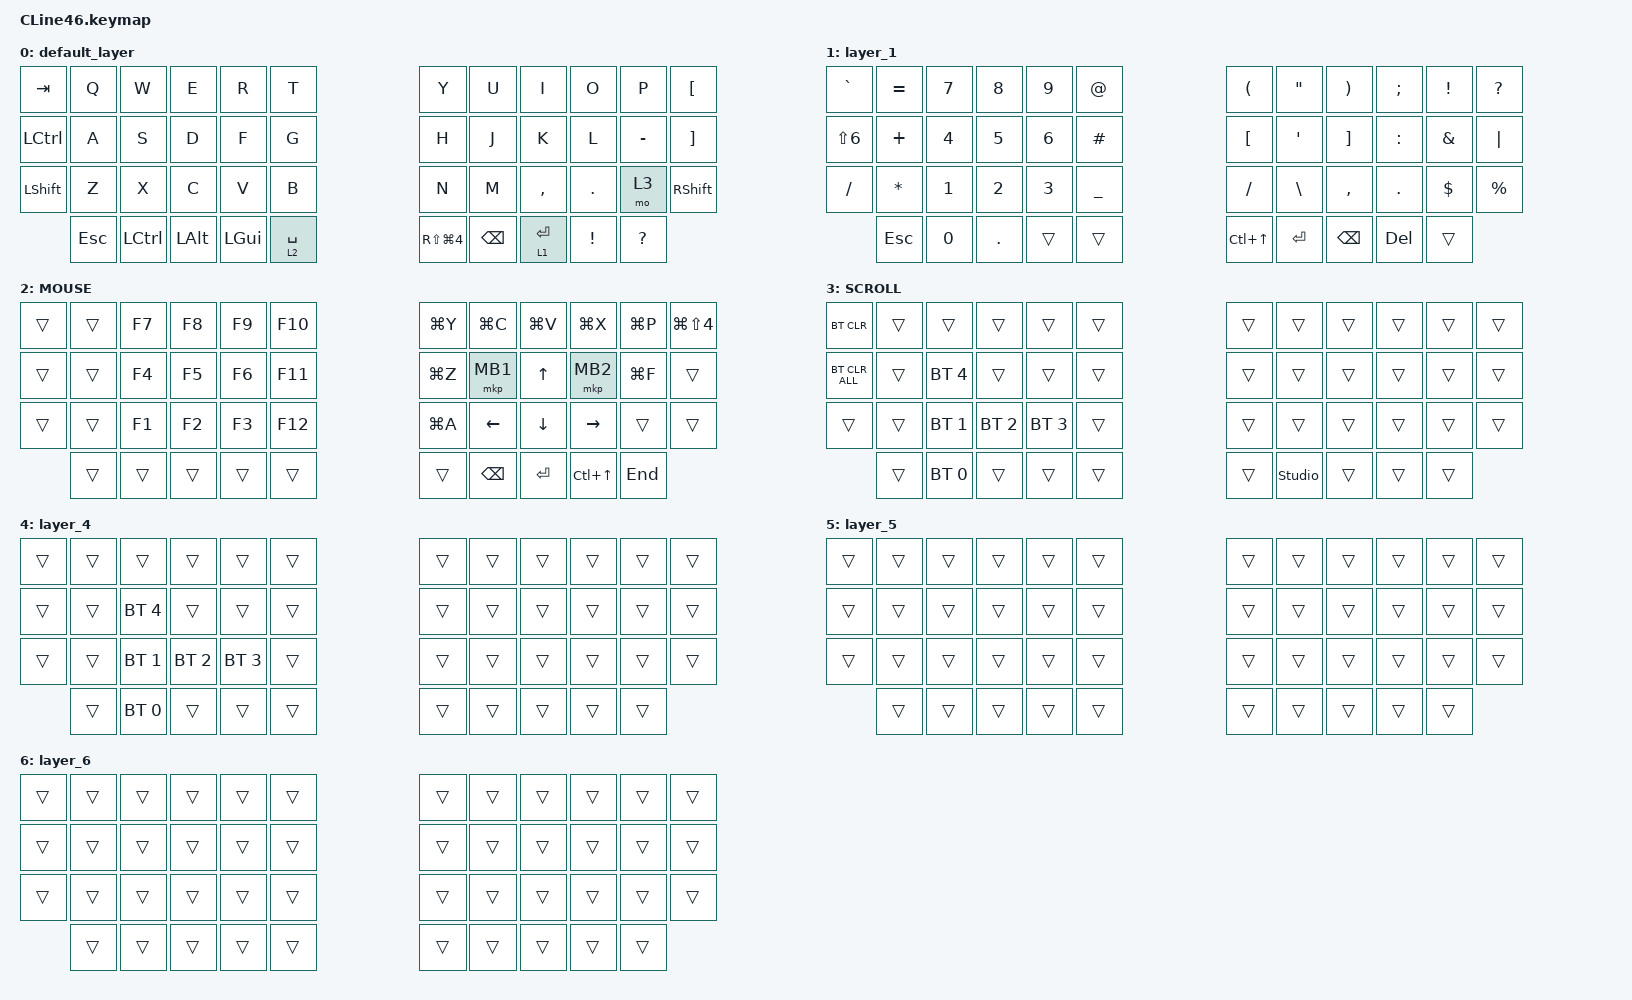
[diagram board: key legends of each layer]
#include <input/processors.dtsi>
#include <dt-bindings/zmk/input_transform.h>
#include <zephyr/dt-bindings/input/input-event-codes.h>
#include <behaviors.dtsi>
#include <dt-bindings/zmk/bt.h>
#include <dt-bindings/zmk/keys.h>
#include <dt-bindings/zmk/pointing.h>

&mt {
    flavor = "balanced";
    quick-tap-ms = <0>;
};

/ {
    combos {
        compatible = "zmk,combos";

        tab {
            bindings = <&kp TAB>;
            key-positions = <11 12>;
        };

        shift_tab {
            bindings = <&kp LS(TAB)>;
            key-positions = <12 13>;
        };

        left_click {
            bindings = <&mkp MB1>;
            key-positions = <19 20>;
        };

        right_click {
            bindings = <&mkp MB2>;
            key-positions = <20 21>;
        };

        lang2 {
            bindings = <&kp LANGUAGE_2>;
            key-positions = <14 15>;
        };

        lang1 {
            bindings = <&kp LANGUAGE_1>;
            key-positions = <16 15>;
        };
    };

    macros {
        to_layer_0: to_layer_0 {
            compatible = "zmk,behavior-macro-one-param";
            #binding-cells = <1>;
            bindings = <&to 0 &macro_param_1to1 &kp MACRO_PLACEHOLDER>;
            label = "TO_LAYER_0";
        };
    };

    behaviors {
        lt_to_layer_0: lt_to_layer_0 {
            compatible = "zmk,behavior-hold-tap";
            label = "LAYER_TAP_TO_0";
            bindings = <&mo>, <&to_layer_0>;

            #binding-cells = <2>;
            tapping-term-ms = <200>;
        };
    };

    keymap {
        compatible = "zmk,keymap";

        default_layer {
            bindings = <
&kp TAB     &kp Q    &kp W             &kp E         &kp R         &kp T                                               &kp Y        &kp U  &kp I      &kp O     &kp P         &kp LEFT_BRACKET
&kp LCTRL   &kp A    &kp S             &kp D         &kp F         &kp G                                               &kp H        &kp J  &kp K      &kp L     &kp MINUS     &kp RIGHT_BRACKET
&kp LSHIFT  &kp Z    &kp X             &kp C         &kp V         &kp B                                               &kp N        &kp M  &kp COMMA  &kp DOT   &mo 3         &kp RSHIFT
            &kp ESC  &kp LEFT_CONTROL  &kp LEFT_ALT  &kp LEFT_GUI  &lt 2 SPACE  &kp RS(LG(NUMBER_4))    &kp BACKSPACE  &lt 1 ENTER                    &kp EXCL  &kp QUESTION
            >;
        };

        layer_1 {
            bindings = <
&kp GRAVE         &kp EQUAL     &kp NUMBER_7  &kp NUMBER_8  &kp NUMBER_9  &kp AT_SIGN                                  &kp LEFT_PARENTHESIS  &kp DOUBLE_QUOTES  &kp RIGHT_PARENTHESIS  &kp SEMI   &kp EXCLAMATION  &kp QMARK
&kp LS(NUMBER_6)  &kp PLUS      &kp NUMBER_4  &kp NUMBER_5  &kp NUMBER_6  &kp HASH                                     &kp LEFT_BRACKET      &kp SINGLE_QUOTE   &kp RIGHT_BRACKET      &kp COLON  &kp AMPERSAND    &kp PIPE
&kp SLASH         &kp ASTERISK  &kp NUMBER_1  &kp NUMBER_2  &kp NUMBER_3  &kp UNDERSCORE                               &kp SLASH             &kp BACKSLASH      &kp COMMA              &kp DOT    &kp DOLLAR       &kp PERCENT
                  &kp ESC       &kp NUMBER_0  &kp DOT       &trans        &trans          &kp LC(UP_ARROW)    &kp RET  &kp BSPC                                                        &kp DEL    &trans
            >;
        };

        MOUSE {
            bindings = <
&trans  &trans  &kp F7  &kp F8  &kp F9  &kp F10                           &kp LG(Y)  &kp LG(C)       &kp LG(V)       &kp LG(X)         &kp LG(P)  &kp LG(LS(NUMBER_4))
&trans  &trans  &kp F4  &kp F5  &kp F6  &kp F11                           &kp LG(Z)  &mkp MB1        &kp UP_ARROW    &mkp MB2          &kp LG(F)  &trans
&trans  &trans  &kp F1  &kp F2  &kp F3  &kp F12                           &kp LG(A)  &kp LEFT_ARROW  &kp DOWN_ARROW  &kp RIGHT_ARROW   &trans     &trans
        &trans  &trans  &trans  &trans  &trans   &trans    &kp BACKSPACE  &kp ENTER                                  &kp LC(UP_ARROW)  &kp END
            >;
        };

        SCROLL {
            bindings = <
&bt BT_CLR      &trans  &trans        &trans        &trans        &trans                            &trans  &trans  &trans  &trans  &trans  &trans
&bt BT_CLR_ALL  &trans  &bt BT_SEL 4  &trans        &trans        &trans                            &trans  &trans  &trans  &trans  &trans  &trans
&trans          &trans  &bt BT_SEL 1  &bt BT_SEL 2  &bt BT_SEL 3  &trans                            &trans  &trans  &trans  &trans  &trans  &trans
                &trans  &bt BT_SEL 0  &trans        &trans        &trans  &trans    &studio_unlock  &trans                  &trans  &trans
            >;
        };

        layer_4 {
            bindings = <
&trans  &trans  &trans        &trans        &trans        &trans                    &trans  &trans  &trans  &trans  &trans  &trans
&trans  &trans  &bt BT_SEL 4  &trans        &trans        &trans                    &trans  &trans  &trans  &trans  &trans  &trans
&trans  &trans  &bt BT_SEL 1  &bt BT_SEL 2  &bt BT_SEL 3  &trans                    &trans  &trans  &trans  &trans  &trans  &trans
        &trans  &bt BT_SEL 0  &trans        &trans        &trans  &trans    &trans  &trans                  &trans  &trans
            >;
        };

        layer_5 {
            bindings = <
&trans  &trans  &trans  &trans  &trans  &trans                    &trans  &trans  &trans  &trans  &trans  &trans
&trans  &trans  &trans  &trans  &trans  &trans                    &trans  &trans  &trans  &trans  &trans  &trans
&trans  &trans  &trans  &trans  &trans  &trans                    &trans  &trans  &trans  &trans  &trans  &trans
        &trans  &trans  &trans  &trans  &trans  &trans    &trans  &trans                  &trans  &trans
            >;
        };

        layer_6 {
            bindings = <
&trans  &trans  &trans  &trans  &trans  &trans                    &trans  &trans  &trans  &trans  &trans  &trans
&trans  &trans  &trans  &trans  &trans  &trans                    &trans  &trans  &trans  &trans  &trans  &trans
&trans  &trans  &trans  &trans  &trans  &trans                    &trans  &trans  &trans  &trans  &trans  &trans
        &trans  &trans  &trans  &trans  &trans  &trans    &trans  &trans                  &trans  &trans
            >;
        };
    };
};
